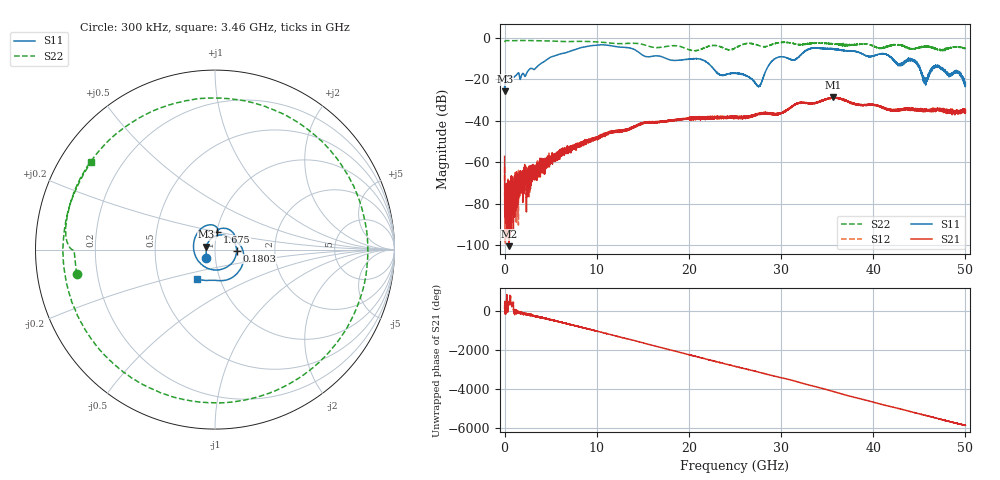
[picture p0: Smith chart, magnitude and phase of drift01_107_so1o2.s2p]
!Created with skrf (http://scikit-rf.org).
# Hz S RI R 50.0
!freq ReS11 ImS11 ReS21 ImS21 ReS12 ImS12 ReS22 ImS22
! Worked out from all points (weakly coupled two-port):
!   10001 points, 300 kHz to 50 GHz, reference 50 ohm
!   highest |S21| = -28.74 dB at 35.68 GHz (marker M1); lowest = -100.4 dB at 450.3 MHz (marker M2)
!   lowest |S11| = -25.8 dB at 5.3 MHz (marker M3), VSWR 1.11, Z = 45.3 + j1.41 ohm
!   |S11| at or under -10 dB: start of sweep to 4.771 GHz; 17.52 GHz to 29.37 GHz (11.85 GHz wide, 50.6 % of centre); 44.04 GHz to end of sweep (the widest 3 of 15)
!   |S22| runs from -6.4 to -1.4 dB; largest |S21 - S12| = 0.0041
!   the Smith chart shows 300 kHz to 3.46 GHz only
!   S11 on the Smith chart (normalised r, x): 300 kHz: 0.90, -0.08; 180.3 MHz: 1.27, -0.01; 1.675 GHz: 1.01, +0.20; 3.46 GHz: 0.77, -0.26
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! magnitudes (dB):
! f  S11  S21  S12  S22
! 300 kHz  -23.5  -57.2  -62.3  -2.1
! 5.3 MHz  -25.8  -71.0  -79.8  -2.1
! 180.3 MHz  -18.4  -89.7  -77.9  -1.4
! 450.3 MHz  -18.6  -100.4  -79.8  -1.4
! 1.675 GHz  -20.1  -65.2  -70.8  -1.4
! 3.46 GHz  -14.3  -64.9  -66.1  -1.5
! 8.335 GHz  -4.8  -51.7  -50.6  -1.8
! 16.67 GHz  -8.8  -40.5  -40.7  -4.8
! 21.22 GHz  -10.3  -38.8  -38.7  -5.7
! 23.38 GHz  -18.0  -38.8  -38.6  -4.4
! 25 GHz  -17.1  -38.2  -38.3  -5.1
! 27.59 GHz  -23.5  -36.9  -36.9  -3.8
! 29.28 GHz  -10.3  -36.7  -36.9  -2.9
! 31.47 GHz  -10.7  -32.5  -32.1  -2.9
! 33.34 GHz  -5.1  -31.8  -31.6  -2.7
! 35.68 GHz  -5.5  -28.7  -29.0  -3.2
! 41.67 GHz  -8.7  -34.2  -34.8  -4.1
! 42.74 GHz  -12.9  -34.8  -34.7  -3.4
! 44.49 GHz  -11.4  -34.8  -34.6  -5.4
! 45.63 GHz  -21.1  -35.1  -35.2  -4.3
! 46.95 GHz  -13.5  -34.0  -34.5  -5.5
! 50 GHz  -21.7  -36.1  -35.3  -5.3
